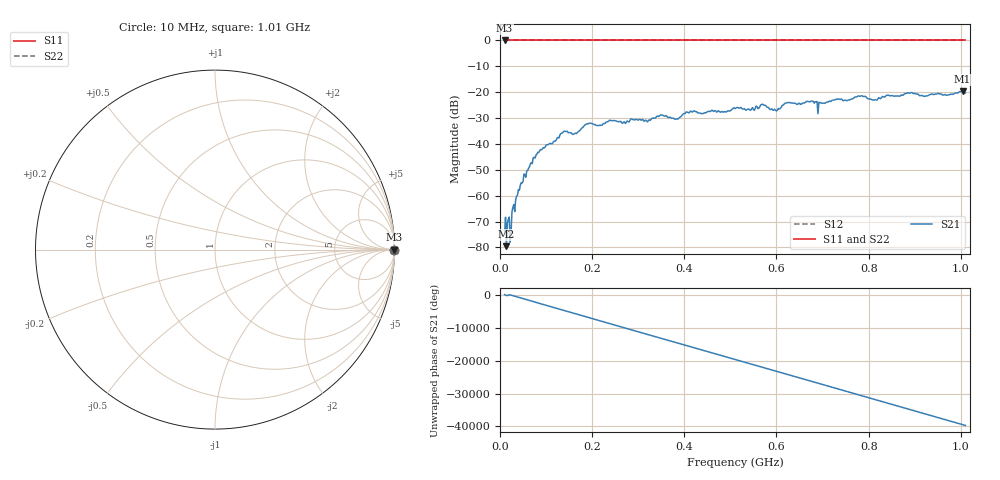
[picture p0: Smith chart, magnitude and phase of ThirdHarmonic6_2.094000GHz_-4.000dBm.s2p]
! 8/17/2025 1:03:25 AM
! C:\ANRITSUVNA\TEMP\TEMP.S2P
! CHANNEL.1
! TR.MEASUREMENT
! RAW.DATA
! RF.CORRECTION.OFF
! AVERAGING.OFF
! IF.BANDWIDTH: 5KHZ
! SWEEPTYPE:  FREQ.SWEEP(Linear)
! Reference Plane Port Info
! PORT:  PORT1  PORT2
! DISTANCE:  0  m  0  m
! TIME:  0  s  0  s
! PHASE.OFFSET:  0  deg.  0  deg.
! LOSS:  0  dB  0  dB
! REF.LOSS:  0  dB  0  dB
! REF.FREQ:  0  Hz  0  Hz
! Power Info
! POWER:  -20  dBm  -20  dBm
! EFF.POWER:  -20  dBm  -20  dBm
! SOURCE.ATTEN:  0  dB  0  dB
! TEST.ATTEN:  0  dB  0  dB
# GHZ S RI R 50.0
! FREQ.GHZ  S11RE  S11IM  S21RE  S21IM  S12RE  S12IM  S22RE  S22IM
!; PortSelection: Port_12
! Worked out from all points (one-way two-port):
!   501 points, 10 MHz to 1.01 GHz, reference 50 ohm
!   highest |S21| = -19.70 dB at 1.004 GHz (marker M1); lowest = -79.5 dB at 14 MHz (marker M2)
!   lowest |S11| = 0.0 dB at 10 MHz (marker M3)
!   |S11| at or under -10 dB: nowhere
!   |S22| runs from 0.0 to 0.0 dB; largest |S21 - S12| = 1.1
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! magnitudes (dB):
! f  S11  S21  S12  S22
! 10 MHz  0.0  -74.3  0.0  0.0
! 14 MHz  0.0  -79.5  0.0  0.0
! 16 MHz  0.0  -70.4  0.0  0.0
! 18 MHz  0.0  -69.1  0.0  0.0
! 26 MHz  0.0  -66.1  0.0  0.0
! 30 MHz  0.0  -63.4  0.0  0.0
! 48 MHz  0.0  -55.1  0.0  0.0
! 76 MHz  0.0  -45.5  0.0  0.0
! 136 MHz  0.0  -35.6  0.0  0.0
! 162 MHz  0.0  -36.0  0.0  0.0
! 178 MHz  0.0  -33.8  0.0  0.0
! 344 MHz  0.0  -29.4  0.0  0.0
! 382 MHz  0.0  -30.4  0.0  0.0
! 416 MHz  0.0  -27.6  0.0  0.0
! 510 MHz  0.0  -26.4  0.0  0.0
! 570 MHz  0.0  -24.6  0.0  0.0
! 598 MHz  0.0  -27.0  0.0  0.0
! 622 MHz  0.0  -24.1  0.0  0.0
! 678 MHz  0.0  -23.5  0.0  0.0
! 844 MHz  0.0  -21.2  0.0  0.0
! 1.004 GHz  0.0  -19.7  0.0  0.0
! 1.01 GHz  0.0  -20.3  0.0  0.0
